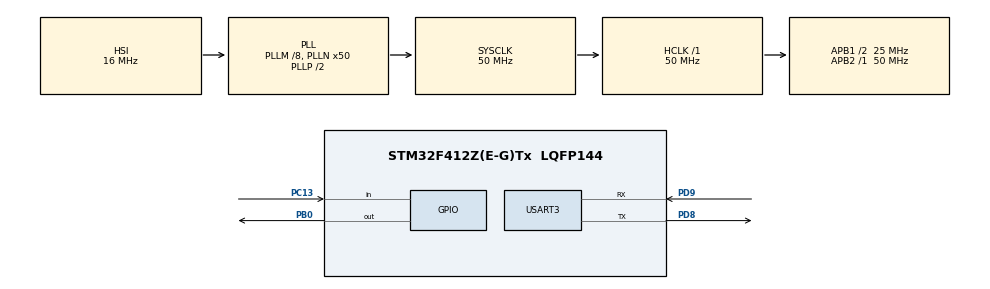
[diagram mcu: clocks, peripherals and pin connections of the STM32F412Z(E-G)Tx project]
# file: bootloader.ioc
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Mcu.Family=STM32F4
Mcu.Name=STM32F412Z(E-G)Tx
Mcu.Package=LQFP144
NVIC.PriorityGroup=NVIC_PRIORITYGROUP_4
PB0.Signal=GPIO_Output
PC13.GPIO_PuPd=GPIO_PULLUP
PC13.Signal=GPIO_Input
PD8.Mode=Asynchronous
PD8.Signal=USART3_TX
PD9.Mode=Asynchronous
PD9.Signal=USART3_RX
ProjectManager.HeapSize=0x200
ProjectManager.StackSize=0x400
ProjectManager.TargetToolchain=STM32CubeIDE
RCC.48MHZClocksFreq_Value=24000000
RCC.AHBFreq_Value=50000000
RCC.APB1CLKDivider=RCC_HCLK_DIV2
RCC.APB1Freq_Value=25000000
RCC.APB1TimFreq_Value=50000000
RCC.APB2Freq_Value=50000000
RCC.APB2TimFreq_Value=50000000
RCC.CortexFreq_Value=50000000
RCC.HCLKFreq_Value=50000000
RCC.HSE_VALUE=8000000
RCC.HSI_VALUE=16000000
RCC.PLLM=8
RCC.PLLMUL=RCC_PLL_MUL9
RCC.PLLN=50
RCC.PLLQ=8
RCC.PRESCALERUSB=RCC_USBCLKSOURCE_PLL_DIV1_5
RCC.SYSCLKFreq_VALUE=50000000
RCC.SYSCLKSource=RCC_SYSCLKSOURCE_PLLCLK
RCC.SYSCLKSourceVirtual=RCC_SYSCLKSOURCE_PLLCLK
RCC.USBFreq_Value=12500000
RCC.VCOOutputFreq_Value=100000000
USART3.VirtualMode=VM_ASYNC
board=NUCLEO-F412ZG

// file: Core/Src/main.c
/* USER CODE BEGIN Header */
/**
  ******************************************************************************
  * @file           : main.c
  * @brief          : Main program body
  ******************************************************************************
  * @attention
  *
  * Copyright (c) 2026 STMicroelectronics.
  * All rights reserved.
  *
  * This software is licensed under terms that can be found in the LICENSE file
  * in the root directory of this software component.
  * If no LICENSE file comes with this software, it is provided AS-IS.
  *
  ******************************************************************************
  */
/* USER CODE END Header */
#include "main.h"
#include <string.h>
#include "stm32f4xx_hal_flash.h"
#include <stdio.h>

/* USER CODE BEGIN Includes */
#include "jump.h"
#include "flash_manager.h"
#include "crc.h"
#include "config.h"
/* USER CODE END Includes */

UART_HandleTypeDef huart3;

void SystemClock_Config(void);
static void MX_GPIO_Init(void);
static void MX_USART3_UART_Init(void);
/* USER CODE BEGIN PFP */
void firmware_update_mode(void);
void erase_application_flash(void);

#define FIRMWARE_MAGIC 0xDEADBEEF
/* USER CODE END PFP */

int main(void)
{

  /* MCU Configuration--------------------------------------------------------*/

  /* Reset of all peripherals, Initializes the Flash interface and the Systick. */
  HAL_Init();

  /* Configure the system clock */
 //SystemClock_Config();

  /* Initialize all configured peripherals */
  MX_GPIO_Init();
  MX_USART3_UART_Init();
  /* USER CODE BEGIN 2 */

  HAL_GPIO_WritePin(GPIOB, GPIO_PIN_0, GPIO_PIN_SET);
  HAL_Delay(2000);

 if(is_application_valid())
 {

	 go_to_function();

 }
 else
 {

	 firmware_update_mode();
 }

  /* USER CODE END 2 */

  /* Infinite loop */
  while (1)
  {

  }
}

void SystemClock_Config(void)
{
  RCC_OscInitTypeDef RCC_OscInitStruct = {0};
  RCC_ClkInitTypeDef RCC_ClkInitStruct = {0};

  /** Configure the main internal regulator output voltage
  */
  __HAL_RCC_PWR_CLK_ENABLE();
  __HAL_PWR_VOLTAGESCALING_CONFIG(PWR_REGULATOR_VOLTAGE_SCALE1);

  /** Initializes the RCC Oscillators according to the specified parameters
  * in the RCC_OscInitTypeDef structure.
  */
  RCC_OscInitStruct.OscillatorType = RCC_OSCILLATORTYPE_HSI;
  RCC_OscInitStruct.HSIState = RCC_HSI_ON;
  RCC_OscInitStruct.HSICalibrationValue = RCC_HSICALIBRATION_DEFAULT;
  RCC_OscInitStruct.PLL.PLLState = RCC_PLL_ON;
  RCC_OscInitStruct.PLL.PLLSource = RCC_PLLSOURCE_HSI;
  RCC_OscInitStruct.PLL.PLLM = 8;
  RCC_OscInitStruct.PLL.PLLN = 50;
  RCC_OscInitStruct.PLL.PLLP = RCC_PLLP_DIV2;
  RCC_OscInitStruct.PLL.PLLQ = 8;
  RCC_OscInitStruct.PLL.PLLR = 2;
  if (HAL_RCC_OscConfig(&RCC_OscInitStruct) != HAL_OK)
  {
    Error_Handler();
  }

  /** Initializes the CPU, AHB and APB buses clocks
  */
  RCC_ClkInitStruct.ClockType = RCC_CLOCKTYPE_HCLK|RCC_CLOCKTYPE_SYSCLK
                              |RCC_CLOCKTYPE_PCLK1|RCC_CLOCKTYPE_PCLK2;
  RCC_ClkInitStruct.SYSCLKSource = RCC_SYSCLKSOURCE_PLLCLK;
  RCC_ClkInitStruct.AHBCLKDivider = RCC_SYSCLK_DIV1;
  RCC_ClkInitStruct.APB1CLKDivider = RCC_HCLK_DIV2;
  RCC_ClkInitStruct.APB2CLKDivider = RCC_HCLK_DIV1;

  if (HAL_RCC_ClockConfig(&RCC_ClkInitStruct, FLASH_LATENCY_1) != HAL_OK)
  {
    Error_Handler();
  }
}

static void MX_USART3_UART_Init(void)
{

  huart3.Instance = USART3;
  huart3.Init.BaudRate = 115200;
  huart3.Init.WordLength = UART_WORDLENGTH_8B;
  huart3.Init.StopBits = UART_STOPBITS_1;
  huart3.Init.Parity = UART_PARITY_NONE;
  huart3.Init.Mode = UART_MODE_TX_RX;
  huart3.Init.HwFlowCtl = UART_HWCONTROL_NONE;
  huart3.Init.OverSampling = UART_OVERSAMPLING_16;
  if (HAL_UART_Init(&huart3) != HAL_OK)
  {
    Error_Handler();
  }

}

static void MX_GPIO_Init(void)
{
  GPIO_InitTypeDef GPIO_InitStruct = {0};

  /* GPIO Ports Clock Enable */
  __HAL_RCC_GPIOC_CLK_ENABLE();
  __HAL_RCC_GPIOB_CLK_ENABLE();
  __HAL_RCC_GPIOD_CLK_ENABLE();

  /*Configure GPIO pin Output Level */
  HAL_GPIO_WritePin(GPIOB, GPIO_PIN_0, GPIO_PIN_RESET);

  /*Configure GPIO pin : PC13 */
  GPIO_InitStruct.Pin = GPIO_PIN_13;
  GPIO_InitStruct.Mode = GPIO_MODE_INPUT;
  GPIO_InitStruct.Pull = GPIO_PULLUP;
  HAL_GPIO_Init(GPIOC, &GPIO_InitStruct);

  /*Configure GPIO pin : PB0 */
  GPIO_InitStruct.Pin = GPIO_PIN_0;
  GPIO_InitStruct.Mode = GPIO_MODE_OUTPUT_PP;
  GPIO_InitStruct.Pull = GPIO_NOPULL;
  GPIO_InitStruct.Speed = GPIO_SPEED_FREQ_LOW;
  HAL_GPIO_Init(GPIOB, &GPIO_InitStruct);

}

/* USER CODE BEGIN 4 */

typedef struct
{
    uint32_t magic;
    uint32_t version;
    uint32_t size;
    uint32_t crc;
} firmware_header_t;

void firmware_update_mode(void)
{
    uint8_t rx;
    char buffer[6];   // START + null
    uint8_t index = 0;

    HAL_UART_Transmit(&huart3, (uint8_t*)"Type START\r\n", 12, HAL_MAX_DELAY);

    while(1)
    {
        HAL_UART_Receive(&huart3, &rx, 1, HAL_MAX_DELAY);

        if(index < 5)
        {
            buffer[index++] = rx;
        }

        if(index == 5)
        {
            buffer[5] = '\0';

            if(strcmp(buffer, "START") == 0)
            {

            	HAL_FLASH_Unlock();

            	HAL_FLASH_Program(FLASH_TYPEPROGRAM_WORD, APP_FLAG_ADDRESS, 0xFFFFFFFF);

            	HAL_FLASH_Lock();

                HAL_UART_Transmit(&huart3,(uint8_t*)"ERASING FLASH...\r\n",18,HAL_MAX_DELAY);

                erase_application_flash();

                HAL_UART_Transmit(&huart3,(uint8_t*)"READY FOR FIRMWARE\r\n",20,HAL_MAX_DELAY);

                uint8_t dummy;
                HAL_UART_Receive(&huart3, &dummy, 1, HAL_MAX_DELAY);

                firmware_header_t header;

                HAL_UART_Receive(&huart3, (uint8_t*)&header, sizeof(header), HAL_MAX_DELAY);

                // Validate magic
                if(header.magic != FIRMWARE_MAGIC)
                {
                    HAL_UART_Transmit(&huart3,(uint8_t*)"INVALID MAGIC\r\n",15,HAL_MAX_DELAY);
                    return;
                }

                uint32_t firmware_size = header.size;

                char msg[50];
                sprintf(msg, "SIZE RECEIVED: %lu\r\n", firmware_size);
                HAL_UART_Transmit(&huart3, (uint8_t*)msg, strlen(msg), HAL_MAX_DELAY);

                uint32_t write_address = 0x08010000;
                uint32_t bytes_received = 0;
                uint32_t data_word;

                HAL_FLASH_Unlock();

                while(bytes_received < firmware_size)
                {
                    HAL_UART_Receive(&huart3, (uint8_t*)&data_word, 4, HAL_MAX_DELAY);

                    HAL_FLASH_Program(FLASH_TYPEPROGRAM_WORD,write_address,data_word);

                    write_address += 4;
                    bytes_received += 4;
                }

                HAL_FLASH_Lock();

                uint8_t *flash_ptr = (uint8_t*)0x08010000;

                uint32_t calculated_crc = crc32_calculate(flash_ptr, firmware_size);

                if(calculated_crc != header.crc)
                {
                    HAL_UART_Transmit(&huart3,(uint8_t*)"CRC FAILED\r\n",12,HAL_MAX_DELAY);
                    return;
                }

                HAL_UART_Transmit(&huart3,(uint8_t*)"CRC OK\r\n",8,HAL_MAX_DELAY);

                HAL_FLASH_Unlock();

                HAL_FLASH_Program(FLASH_TYPEPROGRAM_WORD,APP_FLAG_ADDRESS,APP_VALID_FLAG);

                HAL_FLASH_Lock();

                HAL_UART_Transmit(&huart3,(uint8_t*)"JUMPING...\r\n",12, HAL_MAX_DELAY);

                HAL_Delay(100);

                go_to_function();

            }

            index = 0;
        }
    }
}

/* USER CODE END 4 */

void Error_Handler(void)
{
  __disable_irq();
  while (1)
  {
  }
}
